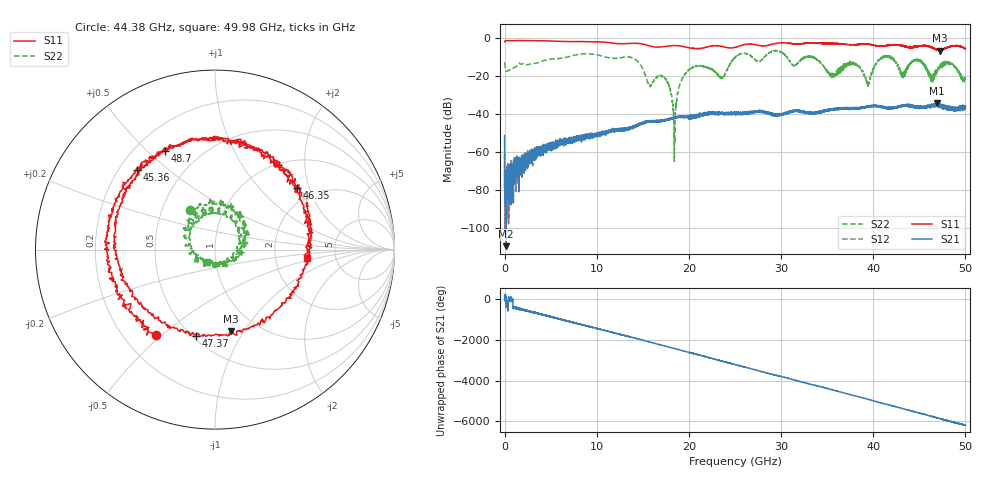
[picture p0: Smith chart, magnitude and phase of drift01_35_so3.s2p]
!Created with skrf (http://scikit-rf.org).
# Hz S RI R 50.0
!freq ReS11 ImS11 ReS21 ImS21 ReS12 ImS12 ReS22 ImS22
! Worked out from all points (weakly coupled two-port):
!   10001 points, 300 kHz to 50 GHz, reference 50 ohm
!   highest |S21| = -34.28 dB at 46.93 GHz (marker M1); lowest = -109.3 dB at 155.3 MHz (marker M2)
!   lowest |S11| = -6.7 dB at 47.21 GHz (marker M3), VSWR 2.74, Z = 37.7 - j43.8 ohm
!   |S11| at or under -10 dB: nowhere
!   |S22| runs from -64.8 to -6.6 dB; largest |S21 - S12| = 0.0049
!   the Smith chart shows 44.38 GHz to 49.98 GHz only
!   S11 on the Smith chart (normalised r, x): 44.38 GHz: 0.34, -0.48; 45.36 GHz: 0.27, +0.40; 46.35 GHz: 1.64, +1.67; 47.37 GHz: 0.52, -0.66; 48.7 GHz: 0.32, +0.57; 49.98 GHz: 3.06, -0.38
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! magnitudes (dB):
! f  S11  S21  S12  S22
! 300 kHz  -2.1  -51.3  -61.1  -12.9
! 155.3 MHz  -1.5  -109.3  -76.8  -17.4
! 8.335 GHz  -1.9  -51.8  -52.5  -8.5
! 16.67 GHz  -4.8  -43.6  -44.0  -20.0
! 17.74 GHz  -4.3  -42.7  -42.8  -23.9
! 18.44 GHz  -4.1  -41.9  -41.5  -56.4
! 19.86 GHz  -5.1  -41.9  -41.6  -17.2
! 23.6 GHz  -4.5  -39.5  -39.8  -20.7
! 25 GHz  -5.0  -39.5  -39.6  -10.4
! 33.34 GHz  -2.6  -39.5  -39.5  -10.0
! 39.46 GHz  -3.3  -36.0  -35.9  -23.4
! 41.67 GHz  -3.9  -36.5  -36.6  -10.1
! 43.18 GHz  -4.1  -35.9  -36.0  -18.6
! 44.38 GHz  -4.8  -36.2  -36.1  -11.8
! 45.36 GHz  -4.1  -36.2  -36.4  -13.0
! 46.35 GHz  -4.9  -35.4  -35.6  -21.0
! 46.93 GHz  -6.5  -34.3  -35.5  -18.0
! 47.21 GHz  -6.7  -34.9  -35.0  -14.7
! 47.37 GHz  -6.2  -35.6  -36.0  -13.9
! 48.7 GHz  -4.2  -37.0  -37.1  -14.0
! 49.98 GHz  -5.8  -35.9  -37.1  -21.4
! 50 GHz  -5.7  -36.7  -36.7  -21.9
